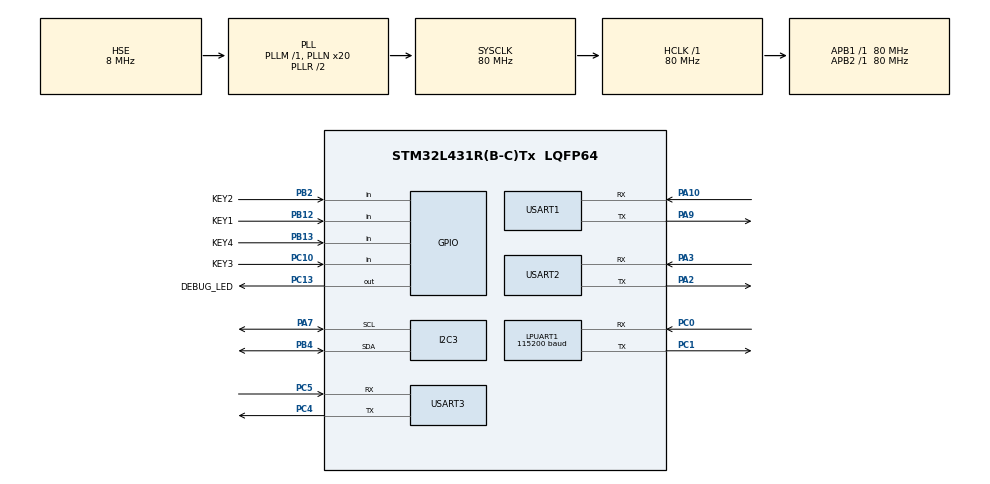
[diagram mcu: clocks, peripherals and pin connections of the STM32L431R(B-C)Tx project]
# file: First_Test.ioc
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I2C3.Timing=0x10909CEC
LPUART1.BaudRate=115200
LPUART1.WordLength=UART_WORDLENGTH_8B
Mcu.Family=STM32L4
Mcu.Name=STM32L431R(B-C)Tx
Mcu.Package=LQFP64
NVIC.LPUART1_IRQn=true\:0\:0\:false\:false\:true\:true\:true
NVIC.PriorityGroup=NVIC_PRIORITYGROUP_4
NVIC.USART1_IRQn=true\:0\:0\:false\:false\:true\:true\:true
NVIC.USART2_IRQn=true\:0\:0\:false\:false\:true\:true\:true
NVIC.USART3_IRQn=true\:0\:0\:false\:false\:true\:true\:true
PA10.Mode=Asynchronous
PA10.Signal=USART1_RX
PA13\ (JTMS-SWDIO).Mode=Serial_Wire
PA13\ (JTMS-SWDIO).Signal=SYS_JTMS-SWDIO
PA14\ (JTCK-SWCLK).Mode=Serial_Wire
PA14\ (JTCK-SWCLK).Signal=SYS_JTCK-SWCLK
PA2.Mode=Asynchronous
PA2.Signal=USART2_TX
PA3.Mode=Asynchronous
PA3.Signal=USART2_RX
PA7.Mode=I2C
PA7.Signal=I2C3_SCL
PA9.Mode=Asynchronous
PA9.Signal=USART1_TX
PB12.GPIO_Label=KEY1
PB12.GPIO_PuPd=GPIO_PULLUP
PB12.Signal=GPIO_Input
PB13.GPIO_Label=KEY4
PB13.GPIO_PuPd=GPIO_PULLUP
PB13.Signal=GPIO_Input
PB2.GPIO_Label=KEY2
PB2.GPIO_PuPd=GPIO_PULLUP
PB2.Signal=GPIO_Input
PB4\ (NJTRST).Mode=I2C
PB4\ (NJTRST).Signal=I2C3_SDA
PC0.Mode=Asynchronous
PC0.Signal=LPUART1_RX
PC1.Mode=Asynchronous
PC1.Signal=LPUART1_TX
PC10.GPIO_Label=KEY3
PC10.GPIO_PuPd=GPIO_PULLUP
PC10.Signal=GPIO_Input
PC13.GPIO_Label=DEBUG_LED
PC13.Signal=GPIO_Output
PC14-OSC32_IN\ (PC14).Mode=LSE-External-Oscillator
PC14-OSC32_IN\ (PC14).Signal=RCC_OSC32_IN
PC15-OSC32_OUT\ (PC15).Mode=LSE-External-Oscillator
PC15-OSC32_OUT\ (PC15).Signal=RCC_OSC32_OUT
PC4.Mode=Asynchronous
PC4.Signal=USART3_TX
PC5.Mode=Asynchronous
PC5.Signal=USART3_RX
PH0-OSC_IN\ (PH0).Mode=HSE-External-Oscillator
PH0-OSC_IN\ (PH0).Signal=RCC_OSC_IN
PH1-OSC_OUT\ (PH1).Mode=HSE-External-Oscillator
PH1-OSC_OUT\ (PH1).Signal=RCC_OSC_OUT
ProjectManager.HeapSize=0x200
ProjectManager.StackSize=0x400
ProjectManager.TargetToolchain=MDK-ARM V5
RCC.ADCFreq_Value=32000000
RCC.AHBFreq_Value=80000000
RCC.APB1Freq_Value=80000000
RCC.APB1TimFreq_Value=80000000
RCC.APB2Freq_Value=80000000
RCC.APB2TimFreq_Value=80000000
RCC.CortexFreq_Value=80000000
RCC.HCLKFreq_Value=80000000
RCC.HSE_VALUE=8000000
RCC.HSI48_VALUE=48000000
RCC.HSI_VALUE=16000000
RCC.MSI_VALUE=4000000
RCC.PLLN=20
RCC.PLLSourceVirtual=RCC_PLLSOURCE_HSE
RCC.SYSCLKFreq_VALUE=80000000
RCC.SYSCLKSource=RCC_SYSCLKSOURCE_PLLCLK
RCC.VCOOutputFreq_Value=160000000
USART1.VirtualMode-Asynchronous=VM_ASYNC
USART2.VirtualMode-Asynchronous=VM_ASYNC
USART3.VirtualMode-Asynchronous=VM_ASYNC
board=custom

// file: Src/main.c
/* USER CODE BEGIN Header */
/**
  ******************************************************************************
  * @file           : main.c
  * @brief          : Main program body
  ******************************************************************************
  * @attention
  *
  * <h2><center>&copy; Copyright (c) 2020 STMicroelectronics.
  * All rights reserved.</center></h2>
  *
  * This software component is licensed by ST under BSD 3-Clause license,
  * the "License"; You may not use this file except in compliance with the
  * License. You may obtain a copy of the License at:
  *                        opensource.org/licenses/BSD-3-Clause
  *
  ******************************************************************************
  */
/* USER CODE END Header */
#include "main.h"
#include "i2c.h"
#include "usart.h"
#include "gpio.h"

/* USER CODE BEGIN Includes */
#include "demo.h"
/* USER CODE END Includes */

/* USER CODE BEGIN PV */
/*创建一个按键事件*/
k_event_t key_event;
//创建几个按键的事件标志
const k_event_flag_t event_key1 = (k_event_flag_t)(1 << 0);
const k_event_flag_t event_key2 = (k_event_flag_t)(1 << 1);
const k_event_flag_t event_key3 = (k_event_flag_t)(1 << 2);
const k_event_flag_t event_key4 = (k_event_flag_t)(1 << 3);
const k_event_flag_t event_key5 = (k_event_flag_t)(1 << 4);
//定义描述按键的结构体变量
struct Button button1, button2, button3, button4;
/* USER CODE END PV */

void SystemClock_Config(void);
/* USER CODE BEGIN PFP */
uint8_t key1_read_pin(void);
uint8_t key2_read_pin(void);
uint8_t key3_read_pin(void);
uint8_t key4_read_pin(void);
void key_handler(void* btn);
/* USER CODE END PFP */

/* USER CODE BEGIN 0 */
extern __IO uint8_t Connect_Flag ;
//task1
#define TASK1_STK_SIZE		256
void task1(void *pdata);
osThreadDef(task1, osPriorityNormal, 1, TASK1_STK_SIZE);
void task1(void *pdata)
{
    button_init(&button1, key1_read_pin, 0);
    button_init(&button2, key2_read_pin, 0);
    button_init(&button3, key3_read_pin, 0);
    button_init(&button4, key4_read_pin, 0);

    button_attach(&button1, PRESS_DOWN,     	key_handler);
    button_attach(&button1, PRESS_UP,     		key_handler);

    button_attach(&button2, PRESS_DOWN,     	key_handler);
    button_attach(&button2, PRESS_UP,     		key_handler);

    button_attach(&button3, PRESS_DOWN,     	key_handler);
    button_attach(&button3, PRESS_UP,     		key_handler);

    button_attach(&button4, PRESS_DOWN,     	key_handler);
    button_attach(&button4, PRESS_UP,     		key_handler);

    button_start(&button1);
    button_start(&button2);
    button_start(&button3);
    button_start(&button4);
    while(1)
    {
				if(Connect_Flag)
					HAL_GPIO_TogglePin(DEBUG_LED_GPIO_Port, DEBUG_LED_Pin);
        tos_sleep_ms(100);
    }
}

#define APPLICATION_TASK_STK_SIZE       4096
extern void application_entry_demo1(void *arg);
osThreadDef(application_entry_demo1, osPriorityNormal, 1, APPLICATION_TASK_STK_SIZE);
/* USER CODE END 0 */

int main(void)
{

  /* MCU Configuration--------------------------------------------------------*/

  /* Reset of all peripherals, Initializes the Flash interface and the Systick. */
  HAL_Init();

  /* Configure the system clock */
  SystemClock_Config();

  /* Initialize all configured peripherals */
  MX_GPIO_Init();
  MX_USART2_UART_Init();
  MX_I2C3_Init();
  MX_LPUART1_UART_Init();
  MX_USART1_UART_Init();
  MX_USART3_UART_Init();
  /* USER CODE BEGIN 2 */
    OLED_Init();
    OLED_Clear();
    OLED_ShowString(0, 0, (uint8_t*)"TencentOS tiny", 16);
    OLED_ShowString(0, 2, (uint8_t*)"---Smart Car---", 16);
    //初始化内核
    osKernelInitialize();
    //创建一个按键事件
    tos_event_create(&key_event, (k_event_flag_t)0u);
    //创建并启动一个任务用于通过按键发送事件
    osThreadCreate(osThread(task1), NULL);
	osThreadCreate(osThread(application_entry_demo1), NULL); // Create TOS Tiny task
    //启动TencentOS tiny内核
    osKernelStart();
  /* USER CODE END 2 */

  /* Infinite loop */
    while (1)
    {

    }
}

void SystemClock_Config(void)
{
  RCC_OscInitTypeDef RCC_OscInitStruct = {0};
  RCC_ClkInitTypeDef RCC_ClkInitStruct = {0};
  RCC_PeriphCLKInitTypeDef PeriphClkInit = {0};

  /** Initializes the RCC Oscillators according to the specified parameters
  * in the RCC_OscInitTypeDef structure.
  */
  RCC_OscInitStruct.OscillatorType = RCC_OSCILLATORTYPE_HSE;
  RCC_OscInitStruct.HSEState = RCC_HSE_ON;
  RCC_OscInitStruct.PLL.PLLState = RCC_PLL_ON;
  RCC_OscInitStruct.PLL.PLLSource = RCC_PLLSOURCE_HSE;
  RCC_OscInitStruct.PLL.PLLM = 1;
  RCC_OscInitStruct.PLL.PLLN = 20;
  RCC_OscInitStruct.PLL.PLLP = RCC_PLLP_DIV7;
  RCC_OscInitStruct.PLL.PLLQ = RCC_PLLQ_DIV2;
  RCC_OscInitStruct.PLL.PLLR = RCC_PLLR_DIV2;
  if (HAL_RCC_OscConfig(&RCC_OscInitStruct) != HAL_OK)
  {
    Error_Handler();
  }
  /** Initializes the CPU, AHB and APB buses clocks
  */
  RCC_ClkInitStruct.ClockType = RCC_CLOCKTYPE_HCLK|RCC_CLOCKTYPE_SYSCLK
                              |RCC_CLOCKTYPE_PCLK1|RCC_CLOCKTYPE_PCLK2;
  RCC_ClkInitStruct.SYSCLKSource = RCC_SYSCLKSOURCE_PLLCLK;
  RCC_ClkInitStruct.AHBCLKDivider = RCC_SYSCLK_DIV1;
  RCC_ClkInitStruct.APB1CLKDivider = RCC_HCLK_DIV1;
  RCC_ClkInitStruct.APB2CLKDivider = RCC_HCLK_DIV1;

  if (HAL_RCC_ClockConfig(&RCC_ClkInitStruct, FLASH_LATENCY_4) != HAL_OK)
  {
    Error_Handler();
  }
  PeriphClkInit.PeriphClockSelection = RCC_PERIPHCLK_USART1|RCC_PERIPHCLK_USART2
                              |RCC_PERIPHCLK_USART3|RCC_PERIPHCLK_LPUART1
                              |RCC_PERIPHCLK_I2C3;
  PeriphClkInit.Usart1ClockSelection = RCC_USART1CLKSOURCE_PCLK2;
  PeriphClkInit.Usart2ClockSelection = RCC_USART2CLKSOURCE_PCLK1;
  PeriphClkInit.Usart3ClockSelection = RCC_USART3CLKSOURCE_PCLK1;
  PeriphClkInit.Lpuart1ClockSelection = RCC_LPUART1CLKSOURCE_PCLK1;
  PeriphClkInit.I2c3ClockSelection = RCC_I2C3CLKSOURCE_PCLK1;
  if (HAL_RCCEx_PeriphCLKConfig(&PeriphClkInit) != HAL_OK)
  {
    Error_Handler();
  }
  /** Configure the main internal regulator output voltage
  */
  if (HAL_PWREx_ControlVoltageScaling(PWR_REGULATOR_VOLTAGE_SCALE1) != HAL_OK)
  {
    Error_Handler();
  }
}

/* USER CODE BEGIN 4 */
uint8_t key1_read_pin(void)
{
    return HAL_GPIO_ReadPin(KEY1_GPIO_Port, KEY1_Pin);
}
uint8_t key2_read_pin(void)
{
    return HAL_GPIO_ReadPin(KEY2_GPIO_Port, KEY2_Pin);
}
uint8_t key3_read_pin(void)
{
    return HAL_GPIO_ReadPin(KEY3_GPIO_Port, KEY3_Pin);
}
uint8_t key4_read_pin(void)
{
    return HAL_GPIO_ReadPin(KEY4_GPIO_Port, KEY4_Pin);
}

void key_handler(void* btn)
{
	struct Button *button = btn ;
	if(btn == &button1)
	{
		if(button->event == PRESS_DOWN)
			tos_event_post(&key_event, event_key1);
		else if(button->event == PRESS_UP)
			tos_event_post(&key_event, event_key5);
	}
	else if(btn == &button2)
	{
		if(button->event == PRESS_DOWN)
			tos_event_post(&key_event, event_key2);
		else if(button->event == PRESS_UP)
			tos_event_post(&key_event, event_key5);
	}
	else if(btn == &button3)
	{
		if(button->event == PRESS_DOWN)
			tos_event_post(&key_event, event_key3);
		else if(button->event == PRESS_UP)
			tos_event_post(&key_event, event_key5);
	}
	else if(btn == &button4)
	{
		if(button->event == PRESS_DOWN)
			tos_event_post(&key_event, event_key4);
		else if(button->event == PRESS_UP)
			tos_event_post(&key_event, event_key5);
	}
}
/* USER CODE END 4 */

void Error_Handler(void)
{
}

/************************ (C) COPYRIGHT STMicroelectronics *****END OF FILE****/
